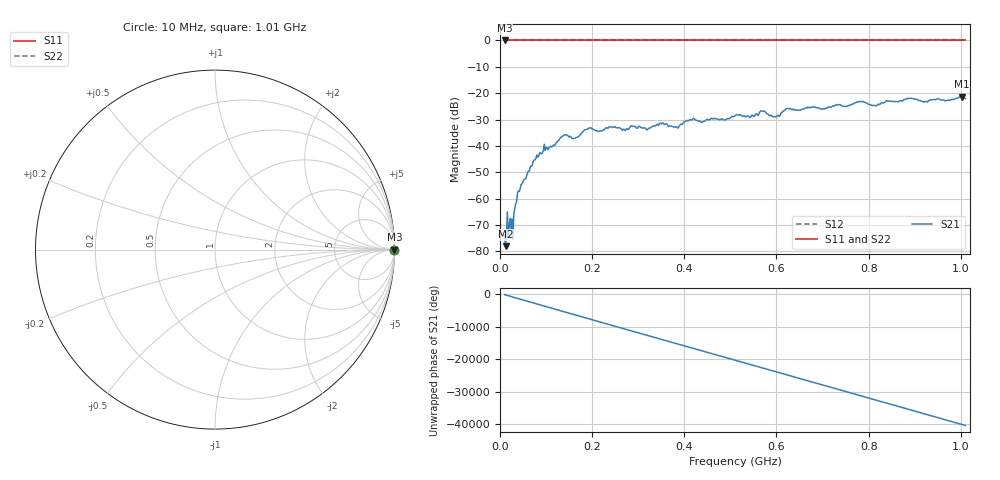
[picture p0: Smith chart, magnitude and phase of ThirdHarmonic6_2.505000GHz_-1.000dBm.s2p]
! 8/17/2025 4:49:59 AM
! C:\ANRITSUVNA\TEMP\TEMP.S2P
! CHANNEL.1
! TR.MEASUREMENT
! RAW.DATA
! RF.CORRECTION.OFF
! AVERAGING.OFF
! IF.BANDWIDTH: 5KHZ
! SWEEPTYPE:  FREQ.SWEEP(Linear)
! Reference Plane Port Info
! PORT:  PORT1  PORT2
! DISTANCE:  0  m  0  m
! TIME:  0  s  0  s
! PHASE.OFFSET:  0  deg.  0  deg.
! LOSS:  0  dB  0  dB
! REF.LOSS:  0  dB  0  dB
! REF.FREQ:  0  Hz  0  Hz
! Power Info
! POWER:  -20  dBm  -20  dBm
! EFF.POWER:  -20  dBm  -20  dBm
! SOURCE.ATTEN:  0  dB  0  dB
! TEST.ATTEN:  0  dB  0  dB
# GHZ S RI R 50.0
! FREQ.GHZ  S11RE  S11IM  S21RE  S21IM  S12RE  S12IM  S22RE  S22IM
!; PortSelection: Port_12
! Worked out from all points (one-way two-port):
!   501 points, 10 MHz to 1.01 GHz, reference 50 ohm
!   highest |S21| = -21.31 dB at 1.002 GHz (marker M1); lowest = -78.0 dB at 12 MHz (marker M2)
!   lowest |S11| = 0.0 dB at 10 MHz (marker M3)
!   |S11| at or under -10 dB: nowhere
!   |S22| runs from 0.0 to 0.0 dB; largest |S21 - S12| = 1.1
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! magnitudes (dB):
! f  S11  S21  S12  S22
! 10 MHz  0.0  -73.8  0.0  0.0
! 12 MHz  0.0  -78.0  0.0  0.0
! 28 MHz  0.0  -75.5  0.0  0.0
! 34 MHz  0.0  -62.0  0.0  0.0
! 42 MHz  0.0  -57.2  0.0  0.0
! 76 MHz  0.0  -45.3  0.0  0.0
! 136 MHz  0.0  -36.3  0.0  0.0
! 162 MHz  0.0  -37.1  0.0  0.0
! 178 MHz  0.0  -34.8  0.0  0.0
! 194 MHz  0.0  -33.2  0.0  0.0
! 322 MHz  0.0  -33.4  0.0  0.0
! 344 MHz  0.0  -32.3  0.0  0.0
! 382 MHz  0.0  -32.6  0.0  0.0
! 416 MHz  0.0  -30.2  0.0  0.0
! 510 MHz  0.0  -28.5  0.0  0.0
! 570 MHz  0.0  -26.8  0.0  0.0
! 596 MHz  0.0  -28.8  0.0  0.0
! 622 MHz  0.0  -25.9  0.0  0.0
! 678 MHz  0.0  -25.3  0.0  0.0
! 844 MHz  0.0  -23.1  0.0  0.0
! 1.002 GHz  0.0  -21.3  0.0  0.0
! 1.01 GHz  0.0  -22.1  0.0  0.0
